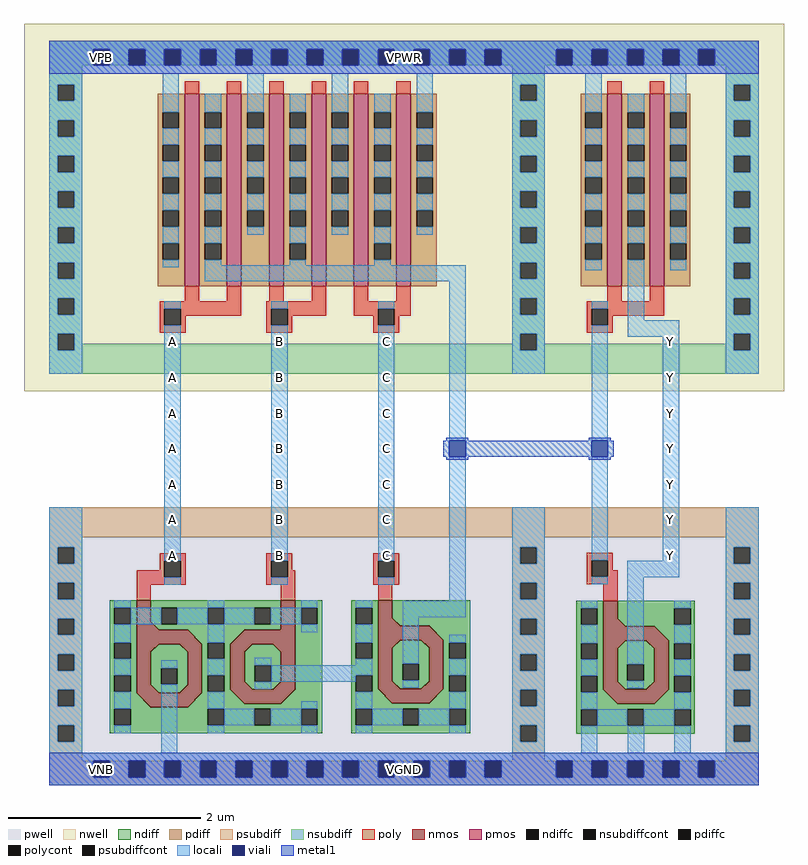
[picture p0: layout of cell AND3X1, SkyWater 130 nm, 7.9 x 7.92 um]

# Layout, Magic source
magic
tech sky130A
magscale 1 2
<< nwell >>
rect -87 786 1493 1550
<< pwell >>
rect -34 -34 1440 544
<< nmos >>
rect 147 290 177 351
tri 177 290 193 306 sw
rect 447 290 477 351
rect 147 260 253 290
tri 253 260 283 290 sw
rect 147 159 177 260
tri 177 244 193 260 nw
tri 237 244 253 260 ne
tri 177 159 193 175 sw
tri 237 159 253 175 se
rect 253 159 283 260
tri 342 260 372 290 se
rect 372 260 477 290
rect 342 166 372 260
tri 372 244 388 260 nw
tri 431 244 447 260 ne
tri 372 166 388 182 sw
tri 431 166 447 182 se
rect 447 166 477 260
tri 147 129 177 159 ne
rect 177 129 253 159
tri 253 129 283 159 nw
tri 342 136 372 166 ne
rect 372 136 447 166
tri 447 136 477 166 nw
rect 649 298 679 351
tri 679 298 695 314 sw
rect 649 268 755 298
tri 755 268 785 298 sw
rect 649 167 679 268
tri 679 252 695 268 nw
tri 739 252 755 268 ne
tri 679 167 695 183 sw
tri 739 167 755 183 se
rect 755 167 785 268
tri 649 137 679 167 ne
rect 679 137 755 167
tri 755 137 785 167 nw
rect 1117 297 1147 350
tri 1147 297 1163 313 sw
rect 1117 267 1223 297
tri 1223 267 1253 297 sw
rect 1117 166 1147 267
tri 1147 251 1163 267 nw
tri 1207 251 1223 267 ne
tri 1147 166 1163 182 sw
tri 1207 166 1223 182 se
rect 1223 166 1253 267
tri 1117 136 1147 166 ne
rect 1147 136 1223 166
tri 1223 136 1253 166 nw
<< pmos >>
rect 247 1004 277 1404
rect 335 1004 365 1404
rect 423 1004 453 1404
rect 511 1004 541 1404
rect 599 1004 629 1404
rect 687 1004 717 1404
rect 1126 1004 1156 1404
rect 1214 1004 1244 1404
<< ndiff >>
rect 91 335 147 351
rect 91 301 101 335
rect 135 301 147 335
rect 91 263 147 301
rect 177 335 447 351
rect 177 306 198 335
tri 177 290 193 306 ne
rect 193 301 198 306
rect 232 301 295 335
rect 329 301 392 335
rect 426 301 447 335
rect 193 290 447 301
rect 477 335 533 351
rect 477 301 489 335
rect 523 301 533 335
rect 91 229 101 263
rect 135 229 147 263
tri 253 260 283 290 ne
rect 283 263 342 290
rect 91 195 147 229
rect 91 161 101 195
rect 135 161 147 195
rect 91 129 147 161
tri 177 244 193 260 se
rect 193 244 237 260
tri 237 244 253 260 sw
rect 177 210 253 244
rect 177 176 198 210
rect 232 176 253 210
rect 177 175 253 176
tri 177 159 193 175 ne
rect 193 159 237 175
tri 237 159 253 175 nw
rect 283 229 295 263
rect 329 229 342 263
tri 342 260 372 290 nw
rect 283 195 342 229
rect 283 161 295 195
rect 329 161 342 195
tri 372 244 388 260 se
rect 388 244 431 260
tri 431 244 447 260 sw
rect 372 216 447 244
rect 372 182 393 216
rect 427 182 447 216
tri 372 166 388 182 ne
rect 388 166 431 182
tri 431 166 447 182 nw
tri 147 129 177 159 sw
tri 253 129 283 159 se
rect 283 136 342 161
tri 342 136 372 166 sw
tri 447 136 477 166 se
rect 477 136 533 301
rect 283 129 533 136
rect 91 125 533 129
rect 91 91 101 125
rect 135 91 295 125
rect 329 91 392 125
rect 426 91 489 125
rect 523 91 533 125
rect 91 75 533 91
rect 593 335 649 351
rect 593 301 603 335
rect 637 301 649 335
rect 593 263 649 301
rect 679 314 841 351
tri 679 298 695 314 ne
rect 695 298 841 314
tri 755 268 785 298 ne
rect 593 229 603 263
rect 637 229 649 263
rect 593 195 649 229
rect 593 161 603 195
rect 637 161 649 195
tri 679 252 695 268 se
rect 695 252 739 268
tri 739 252 755 268 sw
rect 679 219 755 252
rect 679 185 700 219
rect 734 185 755 219
rect 679 183 755 185
tri 679 167 695 183 ne
rect 695 167 739 183
tri 739 167 755 183 nw
rect 785 263 841 298
rect 785 229 797 263
rect 831 229 841 263
rect 785 195 841 229
rect 593 137 649 161
tri 649 137 679 167 sw
tri 755 137 785 167 se
rect 785 161 797 195
rect 831 161 841 195
rect 785 137 841 161
rect 593 125 841 137
rect 593 91 603 125
rect 637 91 700 125
rect 734 91 797 125
rect 831 91 841 125
rect 593 75 841 91
rect 1061 334 1117 350
rect 1061 300 1071 334
rect 1105 300 1117 334
rect 1061 262 1117 300
rect 1147 334 1307 350
rect 1147 313 1265 334
tri 1147 297 1163 313 ne
rect 1163 300 1265 313
rect 1299 300 1307 334
rect 1163 297 1307 300
tri 1223 267 1253 297 ne
rect 1061 228 1071 262
rect 1105 228 1117 262
rect 1061 194 1117 228
rect 1061 160 1071 194
rect 1105 160 1117 194
tri 1147 251 1163 267 se
rect 1163 251 1207 267
tri 1207 251 1223 267 sw
rect 1147 218 1223 251
rect 1147 184 1167 218
rect 1201 184 1223 218
rect 1147 182 1223 184
tri 1147 166 1163 182 ne
rect 1163 166 1207 182
tri 1207 166 1223 182 nw
rect 1253 262 1307 297
rect 1253 228 1265 262
rect 1299 228 1307 262
rect 1253 194 1307 228
rect 1061 136 1117 160
tri 1117 136 1147 166 sw
tri 1223 136 1253 166 se
rect 1253 160 1265 194
rect 1299 160 1307 194
rect 1253 136 1307 160
rect 1061 124 1307 136
rect 1061 90 1071 124
rect 1105 90 1167 124
rect 1201 90 1265 124
rect 1299 90 1307 124
rect 1061 74 1307 90
<< pdiff >>
rect 191 1366 247 1404
rect 191 1332 201 1366
rect 235 1332 247 1366
rect 191 1298 247 1332
rect 191 1264 201 1298
rect 235 1264 247 1298
rect 191 1230 247 1264
rect 191 1196 201 1230
rect 235 1196 247 1230
rect 191 1162 247 1196
rect 191 1128 201 1162
rect 235 1128 247 1162
rect 191 1093 247 1128
rect 191 1059 201 1093
rect 235 1059 247 1093
rect 191 1004 247 1059
rect 277 1366 335 1404
rect 277 1332 289 1366
rect 323 1332 335 1366
rect 277 1298 335 1332
rect 277 1264 289 1298
rect 323 1264 335 1298
rect 277 1230 335 1264
rect 277 1196 289 1230
rect 323 1196 335 1230
rect 277 1162 335 1196
rect 277 1128 289 1162
rect 323 1128 335 1162
rect 277 1093 335 1128
rect 277 1059 289 1093
rect 323 1059 335 1093
rect 277 1004 335 1059
rect 365 1366 423 1404
rect 365 1332 377 1366
rect 411 1332 423 1366
rect 365 1298 423 1332
rect 365 1264 377 1298
rect 411 1264 423 1298
rect 365 1230 423 1264
rect 365 1196 377 1230
rect 411 1196 423 1230
rect 365 1162 423 1196
rect 365 1128 377 1162
rect 411 1128 423 1162
rect 365 1004 423 1128
rect 453 1366 511 1404
rect 453 1332 465 1366
rect 499 1332 511 1366
rect 453 1298 511 1332
rect 453 1264 465 1298
rect 499 1264 511 1298
rect 453 1230 511 1264
rect 453 1196 465 1230
rect 499 1196 511 1230
rect 453 1162 511 1196
rect 453 1128 465 1162
rect 499 1128 511 1162
rect 453 1093 511 1128
rect 453 1059 465 1093
rect 499 1059 511 1093
rect 453 1004 511 1059
rect 541 1366 599 1404
rect 541 1332 553 1366
rect 587 1332 599 1366
rect 541 1298 599 1332
rect 541 1264 553 1298
rect 587 1264 599 1298
rect 541 1230 599 1264
rect 541 1196 553 1230
rect 587 1196 599 1230
rect 541 1162 599 1196
rect 541 1128 553 1162
rect 587 1128 599 1162
rect 541 1004 599 1128
rect 629 1366 687 1404
rect 629 1332 641 1366
rect 675 1332 687 1366
rect 629 1298 687 1332
rect 629 1264 641 1298
rect 675 1264 687 1298
rect 629 1230 687 1264
rect 629 1196 641 1230
rect 675 1196 687 1230
rect 629 1162 687 1196
rect 629 1128 641 1162
rect 675 1128 687 1162
rect 629 1093 687 1128
rect 629 1059 641 1093
rect 675 1059 687 1093
rect 629 1004 687 1059
rect 717 1366 771 1404
rect 717 1332 729 1366
rect 763 1332 771 1366
rect 717 1298 771 1332
rect 717 1264 729 1298
rect 763 1264 771 1298
rect 717 1230 771 1264
rect 717 1196 729 1230
rect 763 1196 771 1230
rect 717 1162 771 1196
rect 717 1128 729 1162
rect 763 1128 771 1162
rect 717 1004 771 1128
rect 1070 1366 1126 1404
rect 1070 1332 1080 1366
rect 1114 1332 1126 1366
rect 1070 1298 1126 1332
rect 1070 1264 1080 1298
rect 1114 1264 1126 1298
rect 1070 1230 1126 1264
rect 1070 1196 1080 1230
rect 1114 1196 1126 1230
rect 1070 1162 1126 1196
rect 1070 1128 1080 1162
rect 1114 1128 1126 1162
rect 1070 1093 1126 1128
rect 1070 1059 1080 1093
rect 1114 1059 1126 1093
rect 1070 1004 1126 1059
rect 1156 1366 1214 1404
rect 1156 1332 1168 1366
rect 1202 1332 1214 1366
rect 1156 1298 1214 1332
rect 1156 1264 1168 1298
rect 1202 1264 1214 1298
rect 1156 1230 1214 1264
rect 1156 1196 1168 1230
rect 1202 1196 1214 1230
rect 1156 1162 1214 1196
rect 1156 1128 1168 1162
rect 1202 1128 1214 1162
rect 1156 1093 1214 1128
rect 1156 1059 1168 1093
rect 1202 1059 1214 1093
rect 1156 1004 1214 1059
rect 1244 1366 1298 1404
rect 1244 1332 1256 1366
rect 1290 1332 1298 1366
rect 1244 1298 1298 1332
rect 1244 1264 1256 1298
rect 1290 1264 1298 1298
rect 1244 1230 1298 1264
rect 1244 1196 1256 1230
rect 1290 1196 1298 1230
rect 1244 1162 1298 1196
rect 1244 1128 1256 1162
rect 1290 1128 1298 1162
rect 1244 1093 1298 1128
rect 1244 1059 1256 1093
rect 1290 1059 1298 1093
rect 1244 1004 1298 1059
<< ndiffc >>
rect 101 301 135 335
rect 198 301 232 335
rect 295 301 329 335
rect 392 301 426 335
rect 489 301 523 335
rect 101 229 135 263
rect 101 161 135 195
rect 198 176 232 210
rect 295 229 329 263
rect 295 161 329 195
rect 393 182 427 216
rect 101 91 135 125
rect 295 91 329 125
rect 392 91 426 125
rect 489 91 523 125
rect 603 301 637 335
rect 603 229 637 263
rect 603 161 637 195
rect 700 185 734 219
rect 797 229 831 263
rect 797 161 831 195
rect 603 91 637 125
rect 700 91 734 125
rect 797 91 831 125
rect 1071 300 1105 334
rect 1265 300 1299 334
rect 1071 228 1105 262
rect 1071 160 1105 194
rect 1167 184 1201 218
rect 1265 228 1299 262
rect 1265 160 1299 194
rect 1071 90 1105 124
rect 1167 90 1201 124
rect 1265 90 1299 124
<< pdiffc >>
rect 201 1332 235 1366
rect 201 1264 235 1298
rect 201 1196 235 1230
rect 201 1128 235 1162
rect 201 1059 235 1093
rect 289 1332 323 1366
rect 289 1264 323 1298
rect 289 1196 323 1230
rect 289 1128 323 1162
rect 289 1059 323 1093
rect 377 1332 411 1366
rect 377 1264 411 1298
rect 377 1196 411 1230
rect 377 1128 411 1162
rect 465 1332 499 1366
rect 465 1264 499 1298
rect 465 1196 499 1230
rect 465 1128 499 1162
rect 465 1059 499 1093
rect 553 1332 587 1366
rect 553 1264 587 1298
rect 553 1196 587 1230
rect 553 1128 587 1162
rect 641 1332 675 1366
rect 641 1264 675 1298
rect 641 1196 675 1230
rect 641 1128 675 1162
rect 641 1059 675 1093
rect 729 1332 763 1366
rect 729 1264 763 1298
rect 729 1196 763 1230
rect 729 1128 763 1162
rect 1080 1332 1114 1366
rect 1080 1264 1114 1298
rect 1080 1196 1114 1230
rect 1080 1128 1114 1162
rect 1080 1059 1114 1093
rect 1168 1332 1202 1366
rect 1168 1264 1202 1298
rect 1168 1196 1202 1230
rect 1168 1128 1202 1162
rect 1168 1059 1202 1093
rect 1256 1332 1290 1366
rect 1256 1264 1290 1298
rect 1256 1196 1290 1230
rect 1256 1128 1290 1162
rect 1256 1059 1290 1093
<< psubdiff >>
rect -34 482 1440 544
rect -34 461 34 482
rect -34 427 -17 461
rect 17 427 34 461
rect 928 461 996 482
rect -34 387 34 427
rect -34 353 -17 387
rect 17 353 34 387
rect -34 313 34 353
rect 928 427 945 461
rect 979 427 996 461
rect 1372 461 1440 482
rect 928 387 996 427
rect 928 353 945 387
rect 979 353 996 387
rect 1372 427 1389 461
rect 1423 427 1440 461
rect -34 279 -17 313
rect 17 279 34 313
rect -34 239 34 279
rect -34 205 -17 239
rect 17 205 34 239
rect -34 165 34 205
rect -34 131 -17 165
rect 17 131 34 165
rect -34 91 34 131
rect -34 57 -17 91
rect 17 57 34 91
rect 928 313 996 353
rect 1372 387 1440 427
rect 1372 353 1389 387
rect 1423 353 1440 387
rect 928 279 945 313
rect 979 279 996 313
rect 928 239 996 279
rect 928 205 945 239
rect 979 205 996 239
rect 928 165 996 205
rect 928 131 945 165
rect 979 131 996 165
rect 928 91 996 131
rect -34 17 34 57
rect 928 57 945 91
rect 979 57 996 91
rect 1372 313 1440 353
rect 1372 279 1389 313
rect 1423 279 1440 313
rect 1372 239 1440 279
rect 1372 205 1389 239
rect 1423 205 1440 239
rect 1372 165 1440 205
rect 1372 131 1389 165
rect 1423 131 1440 165
rect 1372 91 1440 131
rect 928 17 996 57
rect 1372 57 1389 91
rect 1423 57 1440 91
rect 1372 17 1440 57
rect -34 -17 57 17
rect 91 -17 131 17
rect 165 -17 205 17
rect 239 -17 279 17
rect 313 -17 353 17
rect 387 -17 427 17
rect 461 -17 501 17
rect 535 -17 575 17
rect 609 -17 649 17
rect 683 -17 723 17
rect 757 -17 797 17
rect 831 -17 871 17
rect 905 -17 1019 17
rect 1053 -17 1093 17
rect 1127 -17 1167 17
rect 1201 -17 1241 17
rect 1275 -17 1315 17
rect 1349 -17 1440 17
rect -34 -34 1440 -17
<< nsubdiff >>
rect -34 1497 1440 1514
rect -34 1463 57 1497
rect 91 1463 131 1497
rect 165 1463 205 1497
rect 239 1463 279 1497
rect 313 1463 353 1497
rect 387 1463 427 1497
rect 461 1463 501 1497
rect 535 1463 575 1497
rect 609 1463 649 1497
rect 683 1463 723 1497
rect 757 1463 797 1497
rect 831 1463 871 1497
rect 905 1463 1019 1497
rect 1053 1463 1093 1497
rect 1127 1463 1167 1497
rect 1201 1463 1241 1497
rect 1275 1463 1315 1497
rect 1349 1463 1440 1497
rect -34 1423 34 1463
rect -34 1389 -17 1423
rect 17 1389 34 1423
rect 928 1423 996 1463
rect -34 1349 34 1389
rect -34 1315 -17 1349
rect 17 1315 34 1349
rect -34 1275 34 1315
rect -34 1241 -17 1275
rect 17 1241 34 1275
rect -34 1201 34 1241
rect -34 1167 -17 1201
rect 17 1167 34 1201
rect -34 1127 34 1167
rect -34 1093 -17 1127
rect 17 1093 34 1127
rect -34 1053 34 1093
rect -34 1019 -17 1053
rect 17 1019 34 1053
rect -34 979 34 1019
rect 928 1389 945 1423
rect 979 1389 996 1423
rect 1372 1423 1440 1463
rect 928 1349 996 1389
rect 928 1315 945 1349
rect 979 1315 996 1349
rect 928 1275 996 1315
rect 928 1241 945 1275
rect 979 1241 996 1275
rect 928 1201 996 1241
rect 928 1167 945 1201
rect 979 1167 996 1201
rect 928 1127 996 1167
rect 928 1093 945 1127
rect 979 1093 996 1127
rect 928 1053 996 1093
rect 928 1019 945 1053
rect 979 1019 996 1053
rect -34 945 -17 979
rect 17 945 34 979
rect -34 905 34 945
rect 928 979 996 1019
rect 1372 1389 1389 1423
rect 1423 1389 1440 1423
rect 1372 1349 1440 1389
rect 1372 1315 1389 1349
rect 1423 1315 1440 1349
rect 1372 1275 1440 1315
rect 1372 1241 1389 1275
rect 1423 1241 1440 1275
rect 1372 1201 1440 1241
rect 1372 1167 1389 1201
rect 1423 1167 1440 1201
rect 1372 1127 1440 1167
rect 1372 1093 1389 1127
rect 1423 1093 1440 1127
rect 1372 1053 1440 1093
rect 1372 1019 1389 1053
rect 1423 1019 1440 1053
rect 928 945 945 979
rect 979 945 996 979
rect -34 871 -17 905
rect 17 884 34 905
rect 928 905 996 945
rect 1372 979 1440 1019
rect 1372 945 1389 979
rect 1423 945 1440 979
rect 928 884 945 905
rect 17 871 945 884
rect 979 884 996 905
rect 1372 905 1440 945
rect 1372 884 1389 905
rect 979 871 1389 884
rect 1423 871 1440 905
rect -34 822 1440 871
<< psubdiffcont >>
rect -17 427 17 461
rect -17 353 17 387
rect 945 427 979 461
rect 945 353 979 387
rect 1389 427 1423 461
rect -17 279 17 313
rect -17 205 17 239
rect -17 131 17 165
rect -17 57 17 91
rect 1389 353 1423 387
rect 945 279 979 313
rect 945 205 979 239
rect 945 131 979 165
rect 945 57 979 91
rect 1389 279 1423 313
rect 1389 205 1423 239
rect 1389 131 1423 165
rect 1389 57 1423 91
rect 57 -17 91 17
rect 131 -17 165 17
rect 205 -17 239 17
rect 279 -17 313 17
rect 353 -17 387 17
rect 427 -17 461 17
rect 501 -17 535 17
rect 575 -17 609 17
rect 649 -17 683 17
rect 723 -17 757 17
rect 797 -17 831 17
rect 871 -17 905 17
rect 1019 -17 1053 17
rect 1093 -17 1127 17
rect 1167 -17 1201 17
rect 1241 -17 1275 17
rect 1315 -17 1349 17
<< nsubdiffcont >>
rect 57 1463 91 1497
rect 131 1463 165 1497
rect 205 1463 239 1497
rect 279 1463 313 1497
rect 353 1463 387 1497
rect 427 1463 461 1497
rect 501 1463 535 1497
rect 575 1463 609 1497
rect 649 1463 683 1497
rect 723 1463 757 1497
rect 797 1463 831 1497
rect 871 1463 905 1497
rect 1019 1463 1053 1497
rect 1093 1463 1127 1497
rect 1167 1463 1201 1497
rect 1241 1463 1275 1497
rect 1315 1463 1349 1497
rect -17 1389 17 1423
rect -17 1315 17 1349
rect -17 1241 17 1275
rect -17 1167 17 1201
rect -17 1093 17 1127
rect -17 1019 17 1053
rect 945 1389 979 1423
rect 945 1315 979 1349
rect 945 1241 979 1275
rect 945 1167 979 1201
rect 945 1093 979 1127
rect 945 1019 979 1053
rect -17 945 17 979
rect 1389 1389 1423 1423
rect 1389 1315 1423 1349
rect 1389 1241 1423 1275
rect 1389 1167 1423 1201
rect 1389 1093 1423 1127
rect 1389 1019 1423 1053
rect 945 945 979 979
rect -17 871 17 905
rect 1389 945 1423 979
rect 945 871 979 905
rect 1389 871 1423 905
<< poly >>
rect 247 1404 277 1430
rect 335 1404 365 1430
rect 423 1404 453 1430
rect 511 1404 541 1430
rect 599 1404 629 1430
rect 687 1404 717 1430
rect 1126 1404 1156 1430
rect 1214 1404 1244 1430
rect 247 973 277 1004
rect 335 973 365 1004
rect 423 973 453 1004
rect 511 973 541 1004
rect 195 957 365 973
rect 195 923 205 957
rect 239 943 365 957
rect 417 957 541 973
rect 239 923 249 943
rect 195 907 249 923
rect 417 923 427 957
rect 461 943 541 957
rect 599 973 629 1004
rect 687 973 717 1004
rect 599 957 717 973
rect 599 943 649 957
rect 461 923 471 943
rect 417 907 471 923
rect 639 923 649 943
rect 683 943 717 957
rect 1126 973 1156 1004
rect 1214 973 1244 1004
rect 683 923 693 943
rect 639 907 693 923
rect 1083 957 1244 973
rect 1083 923 1093 957
rect 1127 943 1244 957
rect 1127 923 1137 943
rect 1083 907 1137 923
rect 195 433 249 449
rect 195 413 205 433
rect 147 399 205 413
rect 239 399 249 433
rect 147 383 249 399
rect 417 433 471 449
rect 417 399 427 433
rect 461 413 471 433
rect 639 433 693 449
rect 461 399 477 413
rect 417 383 477 399
rect 639 399 649 433
rect 683 399 693 433
rect 639 383 693 399
rect 147 351 177 383
rect 447 351 477 383
rect 649 351 679 383
rect 1083 434 1137 450
rect 1083 400 1093 434
rect 1127 413 1137 434
rect 1127 400 1147 413
rect 1083 384 1147 400
rect 1117 350 1147 384
<< polycont >>
rect 205 923 239 957
rect 427 923 461 957
rect 649 923 683 957
rect 1093 923 1127 957
rect 205 399 239 433
rect 427 399 461 433
rect 649 399 683 433
rect 1093 400 1127 434
<< locali >>
rect -34 1497 1440 1514
rect -34 1463 57 1497
rect 91 1463 131 1497
rect 165 1463 205 1497
rect 239 1463 279 1497
rect 313 1463 353 1497
rect 387 1463 427 1497
rect 461 1463 501 1497
rect 535 1463 575 1497
rect 609 1463 649 1497
rect 683 1463 723 1497
rect 757 1463 797 1497
rect 831 1463 871 1497
rect 905 1463 1019 1497
rect 1053 1463 1093 1497
rect 1127 1463 1167 1497
rect 1201 1463 1241 1497
rect 1275 1463 1315 1497
rect 1349 1463 1440 1497
rect -34 1446 1440 1463
rect -34 1423 34 1446
rect -34 1389 -17 1423
rect 17 1389 34 1423
rect -34 1349 34 1389
rect -34 1315 -17 1349
rect 17 1315 34 1349
rect -34 1275 34 1315
rect -34 1241 -17 1275
rect 17 1241 34 1275
rect -34 1201 34 1241
rect -34 1167 -17 1201
rect 17 1167 34 1201
rect -34 1127 34 1167
rect -34 1093 -17 1127
rect 17 1093 34 1127
rect -34 1053 34 1093
rect -34 1019 -17 1053
rect 17 1019 34 1053
rect 201 1366 235 1446
rect 201 1298 235 1332
rect 201 1230 235 1264
rect 201 1162 235 1196
rect 201 1093 235 1128
rect 201 1043 235 1059
rect 289 1366 323 1404
rect 289 1298 323 1332
rect 289 1230 323 1264
rect 289 1162 323 1196
rect 289 1093 323 1128
rect 377 1366 411 1446
rect 377 1298 411 1332
rect 377 1230 411 1264
rect 377 1162 411 1196
rect 377 1111 411 1128
rect 465 1366 499 1404
rect 465 1298 499 1332
rect 465 1230 499 1264
rect 465 1162 499 1196
rect 289 1048 323 1059
rect 465 1093 499 1128
rect 553 1366 587 1446
rect 553 1298 587 1332
rect 553 1230 587 1264
rect 553 1162 587 1196
rect 553 1111 587 1128
rect 641 1366 675 1404
rect 641 1298 675 1332
rect 641 1230 675 1264
rect 641 1162 675 1196
rect 465 1048 499 1059
rect 641 1093 675 1128
rect 729 1366 763 1446
rect 729 1298 763 1332
rect 729 1230 763 1264
rect 729 1162 763 1196
rect 729 1111 763 1128
rect 928 1423 996 1446
rect 928 1389 945 1423
rect 979 1389 996 1423
rect 928 1349 996 1389
rect 928 1315 945 1349
rect 979 1315 996 1349
rect 928 1275 996 1315
rect 928 1241 945 1275
rect 979 1241 996 1275
rect 928 1201 996 1241
rect 928 1167 945 1201
rect 979 1167 996 1201
rect 928 1127 996 1167
rect 641 1048 675 1059
rect 928 1093 945 1127
rect 979 1093 996 1127
rect 928 1053 996 1093
rect -34 979 34 1019
rect 289 1014 831 1048
rect -34 945 -17 979
rect 17 945 34 979
rect -34 905 34 945
rect -34 871 -17 905
rect 17 871 34 905
rect -34 822 34 871
rect 205 957 239 973
rect -34 461 34 544
rect -34 427 -17 461
rect 17 427 34 461
rect -34 387 34 427
rect -34 353 -17 387
rect 17 353 34 387
rect 205 433 239 923
rect 205 383 239 399
rect 427 957 461 973
rect 427 433 461 923
rect 427 383 461 399
rect 649 957 683 973
rect 649 433 683 923
rect 649 383 683 399
rect 797 683 831 1014
rect 928 1019 945 1053
rect 979 1019 996 1053
rect 1080 1366 1114 1446
rect 1080 1298 1114 1332
rect 1080 1230 1114 1264
rect 1080 1162 1114 1196
rect 1080 1093 1114 1128
rect 1080 1037 1114 1059
rect 1168 1366 1202 1404
rect 1168 1298 1202 1332
rect 1168 1230 1202 1264
rect 1168 1162 1202 1196
rect 1168 1093 1202 1128
rect 928 979 996 1019
rect 928 945 945 979
rect 979 945 996 979
rect 928 905 996 945
rect 928 871 945 905
rect 979 871 996 905
rect 928 822 996 871
rect 1093 957 1127 973
rect -34 313 34 353
rect -34 279 -17 313
rect 17 279 34 313
rect -34 239 34 279
rect -34 205 -17 239
rect 17 205 34 239
rect -34 165 34 205
rect -34 131 -17 165
rect 17 131 34 165
rect -34 91 34 131
rect -34 57 -17 91
rect 17 57 34 91
rect 101 335 135 351
rect 295 335 329 351
rect 489 335 523 351
rect 135 301 198 335
rect 232 301 295 335
rect 329 301 392 335
rect 426 301 489 335
rect 101 263 135 301
rect 101 195 135 229
rect 295 263 329 301
rect 489 285 523 301
rect 603 335 637 351
rect 797 350 831 649
rect 1093 683 1127 923
rect 1168 933 1202 1059
rect 1256 1366 1290 1446
rect 1256 1298 1290 1332
rect 1256 1230 1290 1264
rect 1256 1162 1290 1196
rect 1256 1093 1290 1128
rect 1256 1037 1290 1059
rect 1372 1423 1440 1446
rect 1372 1389 1389 1423
rect 1423 1389 1440 1423
rect 1372 1349 1440 1389
rect 1372 1315 1389 1349
rect 1423 1315 1440 1349
rect 1372 1275 1440 1315
rect 1372 1241 1389 1275
rect 1423 1241 1440 1275
rect 1372 1201 1440 1241
rect 1372 1167 1389 1201
rect 1423 1167 1440 1201
rect 1372 1127 1440 1167
rect 1372 1093 1389 1127
rect 1423 1093 1440 1127
rect 1372 1053 1440 1093
rect 1372 1019 1389 1053
rect 1423 1019 1440 1053
rect 1372 979 1440 1019
rect 1372 945 1389 979
rect 1423 945 1440 979
rect 1168 899 1275 933
rect 603 263 637 301
rect 101 125 135 161
rect 101 75 135 91
rect 198 210 232 226
rect -34 34 34 57
rect 198 34 232 176
rect 295 195 329 229
rect 393 216 427 232
rect 603 216 637 229
rect 427 195 637 216
rect 427 182 603 195
rect 393 166 427 182
rect 295 125 329 161
rect 700 316 831 350
rect 928 461 996 544
rect 928 427 945 461
rect 979 427 996 461
rect 928 387 996 427
rect 928 353 945 387
rect 979 353 996 387
rect 1093 434 1127 649
rect 1241 433 1275 899
rect 1372 905 1440 945
rect 1372 871 1389 905
rect 1423 871 1440 905
rect 1372 822 1440 871
rect 1093 384 1127 400
rect 1167 399 1275 433
rect 1372 461 1440 544
rect 1372 427 1389 461
rect 1423 427 1440 461
rect 700 219 734 316
rect 928 313 996 353
rect 928 279 945 313
rect 979 279 996 313
rect 700 169 734 185
rect 797 263 831 279
rect 797 195 831 229
rect 489 125 523 141
rect 329 91 392 125
rect 426 91 489 125
rect 295 75 329 91
rect 489 75 523 91
rect 603 125 637 161
rect 797 125 831 161
rect 637 91 700 125
rect 734 91 797 125
rect 603 75 637 91
rect 797 75 831 91
rect 928 239 996 279
rect 928 205 945 239
rect 979 205 996 239
rect 928 165 996 205
rect 928 131 945 165
rect 979 131 996 165
rect 928 91 996 131
rect 928 57 945 91
rect 979 57 996 91
rect 928 34 996 57
rect 1071 334 1105 350
rect 1071 262 1105 300
rect 1071 194 1105 228
rect 1167 218 1201 399
rect 1372 387 1440 427
rect 1372 353 1389 387
rect 1423 353 1440 387
rect 1167 168 1201 184
rect 1265 334 1299 350
rect 1265 262 1299 300
rect 1265 194 1299 228
rect 1071 124 1105 160
rect 1265 124 1299 160
rect 1105 90 1167 124
rect 1201 90 1265 124
rect 1071 34 1105 90
rect 1168 34 1202 90
rect 1265 34 1299 90
rect 1372 313 1440 353
rect 1372 279 1389 313
rect 1423 279 1440 313
rect 1372 239 1440 279
rect 1372 205 1389 239
rect 1423 205 1440 239
rect 1372 165 1440 205
rect 1372 131 1389 165
rect 1423 131 1440 165
rect 1372 91 1440 131
rect 1372 57 1389 91
rect 1423 57 1440 91
rect 1372 34 1440 57
rect -34 17 1440 34
rect -34 -17 57 17
rect 91 -17 131 17
rect 165 -17 205 17
rect 239 -17 279 17
rect 313 -17 353 17
rect 387 -17 427 17
rect 461 -17 501 17
rect 535 -17 575 17
rect 609 -17 649 17
rect 683 -17 723 17
rect 757 -17 797 17
rect 831 -17 871 17
rect 905 -17 1019 17
rect 1053 -17 1093 17
rect 1127 -17 1167 17
rect 1201 -17 1241 17
rect 1275 -17 1315 17
rect 1349 -17 1440 17
rect -34 -34 1440 -17
<< viali >>
rect 57 1463 91 1497
rect 131 1463 165 1497
rect 205 1463 239 1497
rect 279 1463 313 1497
rect 353 1463 387 1497
rect 427 1463 461 1497
rect 501 1463 535 1497
rect 575 1463 609 1497
rect 649 1463 683 1497
rect 723 1463 757 1497
rect 797 1463 831 1497
rect 871 1463 905 1497
rect 1019 1463 1053 1497
rect 1093 1463 1127 1497
rect 1167 1463 1201 1497
rect 1241 1463 1275 1497
rect 1315 1463 1349 1497
rect 797 649 831 683
rect 1093 649 1127 683
rect 57 -17 91 17
rect 131 -17 165 17
rect 205 -17 239 17
rect 279 -17 313 17
rect 353 -17 387 17
rect 427 -17 461 17
rect 501 -17 535 17
rect 575 -17 609 17
rect 649 -17 683 17
rect 723 -17 757 17
rect 797 -17 831 17
rect 871 -17 905 17
rect 1019 -17 1053 17
rect 1093 -17 1127 17
rect 1167 -17 1201 17
rect 1241 -17 1275 17
rect 1315 -17 1349 17
<< metal1 >>
rect -34 1497 1440 1514
rect -34 1463 57 1497
rect 91 1463 131 1497
rect 165 1463 205 1497
rect 239 1463 279 1497
rect 313 1463 353 1497
rect 387 1463 427 1497
rect 461 1463 501 1497
rect 535 1463 575 1497
rect 609 1463 649 1497
rect 683 1463 723 1497
rect 757 1463 797 1497
rect 831 1463 871 1497
rect 905 1463 1019 1497
rect 1053 1463 1093 1497
rect 1127 1463 1167 1497
rect 1201 1463 1241 1497
rect 1275 1463 1315 1497
rect 1349 1463 1440 1497
rect -34 1446 1440 1463
rect 791 683 837 689
rect 1087 683 1133 689
rect 785 649 797 683
rect 831 649 1093 683
rect 1127 649 1139 683
rect 791 643 837 649
rect 1087 643 1133 649
rect -34 17 1440 34
rect -34 -17 57 17
rect 91 -17 131 17
rect 165 -17 205 17
rect 239 -17 279 17
rect 313 -17 353 17
rect 387 -17 427 17
rect 461 -17 501 17
rect 535 -17 575 17
rect 609 -17 649 17
rect 683 -17 723 17
rect 757 -17 797 17
rect 831 -17 871 17
rect 905 -17 1019 17
rect 1053 -17 1093 17
rect 1127 -17 1167 17
rect 1201 -17 1241 17
rect 1275 -17 1315 17
rect 1349 -17 1440 17
rect -34 -34 1440 -17
<< labels >>
rlabel metal1 1241 427 1275 461 1 Y
port 1 n
rlabel metal1 1241 501 1275 535 1 Y
port 2 n
rlabel metal1 1241 575 1275 609 1 Y
port 3 n
rlabel metal1 1241 649 1275 683 1 Y
port 4 n
rlabel metal1 1241 723 1275 757 1 Y
port 5 n
rlabel metal1 1241 797 1275 831 1 Y
port 6 n
rlabel metal1 1241 871 1275 905 1 Y
port 7 n
rlabel metal1 205 871 239 905 1 A
port 8 n
rlabel metal1 205 797 239 831 1 A
port 9 n
rlabel metal1 205 723 239 757 1 A
port 10 n
rlabel metal1 205 649 239 683 1 A
port 11 n
rlabel metal1 205 575 239 609 1 A
port 12 n
rlabel metal1 205 501 239 535 1 A
port 13 n
rlabel metal1 205 427 239 461 1 A
port 14 n
rlabel metal1 427 871 461 905 1 B
port 15 n
rlabel metal1 427 797 461 831 1 B
port 16 n
rlabel metal1 427 723 461 757 1 B
port 17 n
rlabel metal1 427 649 461 683 1 B
port 18 n
rlabel metal1 427 575 461 609 1 B
port 19 n
rlabel metal1 427 501 461 535 1 B
port 20 n
rlabel metal1 427 427 461 461 1 B
port 21 n
rlabel metal1 649 871 683 905 1 C
port 22 n
rlabel metal1 649 797 683 831 1 C
port 23 n
rlabel metal1 649 723 683 757 1 C
port 24 n
rlabel metal1 649 649 683 683 1 C
port 25 n
rlabel metal1 649 575 683 609 1 C
port 26 n
rlabel metal1 649 501 683 535 1 C
port 27 n
rlabel metal1 649 427 683 461 1 C
port 28 n
rlabel metal1 -34 1446 1440 1514 1 VPWR
port 29 n
rlabel metal1 -34 -34 1440 34 1 VGND
port 30 n
rlabel nwell 57 1463 91 1497 1 VPB
port 31 n
rlabel pwell 57 -17 91 17 1 VNB
port 32 n
<< end >>
